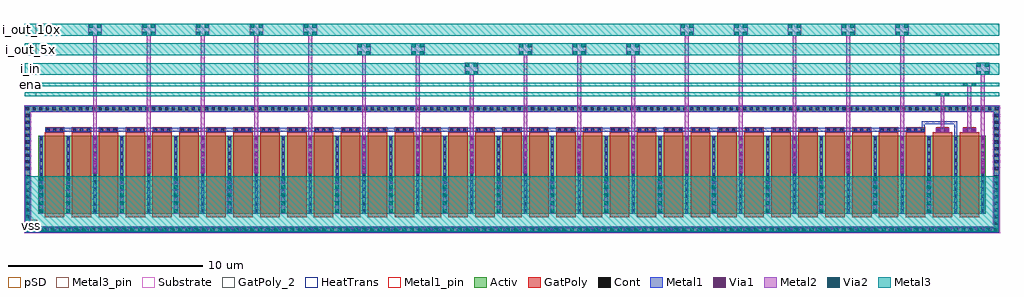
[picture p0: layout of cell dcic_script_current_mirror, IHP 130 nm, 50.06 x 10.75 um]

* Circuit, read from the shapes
.subckt dcic_script_current_mirror ena ena_n i_in i_out_10x i_out_5x vss
XM1 vss n1 vss vss sg13_lv_nmos w=4u l=1u
XM2 i_out_10x n1 vss vss sg13_lv_nmos w=4u l=1u m=20
XM3 i_out_5x n1 vss vss sg13_lv_nmos w=4u l=1u m=10
XM4 i_in n1 vss vss sg13_lv_nmos w=4u l=1u m=2
XM5 n1 ena_n vss vss sg13_lv_nmos w=4u l=1u
XM6 i_in ena n1 vss sg13_lv_nmos w=4u l=1u
.ends

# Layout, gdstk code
import gdstk
lib = gdstk.Library(unit=1e-6, precision=5e-09)
def R(c, l, rs):  # rectangles x0, y0, x1, y1
    for r in rs: c.add(gdstk.rectangle(r[:2], r[2:], *l))
def A(c, l, x, y, w, h, nx, ny, dx, dy):  # array of equal rectangles
    R(c, l, [(x+i*dx, y+j*dy, x+i*dx+w, y+j*dy+h) for i in range(nx) for j in range(ny)])
def P(c, l, *ps):  # polygons
    for p in ps: c.add(gdstk.Polygon(p, *l))
Activ = (1, 0)
GatPoly = (5, 0)
GatPoly_2 = (5, 2)
Cont = (6, 0)
Metal1 = (8, 0)
Metal1_pin = (8, 2)
Metal2 = (10, 0)
pSD = (14, 0)
Via1 = (19, 0)
Via2 = (29, 0)
Metal3 = (30, 0)
Metal3_pin = (30, 2)
Substrate = (40, 0)
HeatTrans = (51, 0)

nmos_1 = lib.new_cell('nmos$1')
A(nmos_1, Activ, 0, 0, 0.3, 0.3, 36, 1, 1.38, 0)
R(nmos_1, Activ, [(0,0,48.6,4)])
A(nmos_1, GatPoly, 0.34, -0.18, 1, 4.36, 35, 1, 1.38, 0)
R(nmos_1, GatPoly_2, [(0.34,-0.18,1.34,4.18)])
A(nmos_1, Cont, 0.07, 0.07, 0.16, 0.16, 36, 11, 1.38, 0.37)
A(nmos_1, Metal1, 0.07, 0, 0.16, 4, 36, 1, 1.38, 0)
R(nmos_1, Metal1_pin, [(0.07,0,0.23,4), (1.45,0,1.61,4)])
A(nmos_1, HeatTrans, 0.34, -0.18, 1, 4.36, 35, 1, 1.38, 0)
nmos_1.add(gdstk.Label('nmos', (0.84,2), layer=63, texttype=0))
nmos_1.add(gdstk.Label('nmos', (0.84,2), layer=51, texttype=0))
nmos_1.add(gdstk.Label('nmos', (2.22,2), layer=51, texttype=0))
nmos_1.add(gdstk.Label('nmos', (3.6,2), layer=51, texttype=0))
nmos_1.add(gdstk.Label('nmos', (4.98,2), layer=51, texttype=0))
nmos_1.add(gdstk.Label('nmos', (6.36,2), layer=51, texttype=0))
nmos_1.add(gdstk.Label('nmos', (7.74,2), layer=51, texttype=0))
nmos_1.add(gdstk.Label('nmos', (9.12,2), layer=51, texttype=0))
nmos_1.add(gdstk.Label('nmos', (10.5,2), layer=51, texttype=0))
nmos_1.add(gdstk.Label('nmos', (11.88,2), layer=51, texttype=0))
nmos_1.add(gdstk.Label('nmos', (13.26,2), layer=51, texttype=0))
nmos_1.add(gdstk.Label('nmos', (14.64,2), layer=51, texttype=0))
nmos_1.add(gdstk.Label('nmos', (16.02,2), layer=51, texttype=0))
nmos_1.add(gdstk.Label('nmos', (17.4,2), layer=51, texttype=0))
nmos_1.add(gdstk.Label('nmos', (18.78,2), layer=51, texttype=0))
nmos_1.add(gdstk.Label('nmos', (20.16,2), layer=51, texttype=0))
nmos_1.add(gdstk.Label('nmos', (21.54,2), layer=51, texttype=0))
nmos_1.add(gdstk.Label('nmos', (22.92,2), layer=51, texttype=0))
nmos_1.add(gdstk.Label('nmos', (24.3,2), layer=51, texttype=0))
nmos_1.add(gdstk.Label('nmos', (25.68,2), layer=51, texttype=0))
nmos_1.add(gdstk.Label('nmos', (27.06,2), layer=51, texttype=0))
nmos_1.add(gdstk.Label('nmos', (28.44,2), layer=51, texttype=0))
nmos_1.add(gdstk.Label('nmos', (29.82,2), layer=51, texttype=0))
nmos_1.add(gdstk.Label('nmos', (31.2,2), layer=51, texttype=0))
nmos_1.add(gdstk.Label('nmos', (32.58,2), layer=51, texttype=0))
nmos_1.add(gdstk.Label('nmos', (33.96,2), layer=51, texttype=0))
nmos_1.add(gdstk.Label('nmos', (35.34,2), layer=51, texttype=0))
nmos_1.add(gdstk.Label('nmos', (36.72,2), layer=51, texttype=0))
nmos_1.add(gdstk.Label('nmos', (38.1,2), layer=51, texttype=0))
nmos_1.add(gdstk.Label('nmos', (39.48,2), layer=51, texttype=0))
nmos_1.add(gdstk.Label('nmos', (40.86,2), layer=51, texttype=0))
nmos_1.add(gdstk.Label('nmos', (42.24,2), layer=51, texttype=0))
nmos_1.add(gdstk.Label('nmos', (43.62,2), layer=51, texttype=0))
nmos_1.add(gdstk.Label('nmos', (45,2), layer=51, texttype=0))
nmos_1.add(gdstk.Label('nmos', (46.38,2), layer=51, texttype=0))
nmos_1.add(gdstk.Label('nmos', (47.76,2), layer=51, texttype=0))

via_stack = lib.new_cell('via_stack')
R(via_stack, GatPoly, [(-0.49,-0.15,0.49,0.15)])
A(via_stack, Cont, -0.42, -0.08, 0.16, 0.16, 3, 1, 0.34, 0)
R(via_stack, Metal1, [(-0.47,-0.08,0.47,0.08)])

via_stack_2 = lib.new_cell('via_stack$2')
R(via_stack_2, GatPoly, [(-0.32,-0.15,0.32,0.15)])
R(via_stack_2, Cont, [(-0.25,-0.08,-0.09,0.08), (0.09,-0.08,0.25,0.08)])
R(via_stack_2, Metal1, [(-0.35,-0.105,0.35,0.105)])
R(via_stack_2, Metal2, [(-0.35,-0.1,0.35,0.1)])
R(via_stack_2, Via1, [(-0.3,-0.095,-0.11,0.095), (0.11,-0.095,0.3,0.095)])

guard_ring = lib.new_cell('guard_ring')
R(guard_ring, Activ, [(-25,-2.95,-24.7,2.95), (24.7,-2.95,25,2.95), (-25,2.95,25,3.25)])
P(guard_ring, Activ, [(-25,-3.25),(-25,2.95),(-24.7,2.95),(-24.7,-2.95),(24.7,-2.95),(24.7,2.95),(-25,2.95),(-25,3.25),(25,3.25),(25,-3.25)])
A(guard_ring, Cont, -24.93, -3.18, 0.16, 0.16, 73, 2, 0.34, 6.2)
A(guard_ring, Cont, -0.05, -3.18, 0.16, 0.16, 74, 2, 0.34, 6.2)
A(guard_ring, Cont, -24.93, -2.84, 0.16, 0.16, 1, 8, 0, 0.34)
A(guard_ring, Cont, 24.77, -2.84, 0.16, 0.16, 1, 8, 0, 0.34)
A(guard_ring, Cont, -24.93, -0.04, 0.16, 0.16, 1, 9, 0, 0.34)
A(guard_ring, Cont, 24.77, -0.04, 0.16, 0.16, 1, 9, 0, 0.34)
R(guard_ring, Metal1, [(-25,-3.25,25,-2.95), (-25,-2.95,-24.7,2.95), (24.7,-2.95,25,2.95), (-25,2.95,25,3.25)])
R(guard_ring, pSD, [(-25.03,-2.92,-24.67,2.92), (24.67,-2.92,25.03,2.92), (-25.03,2.92,25.03,3.28)])
P(guard_ring, pSD, [(-25.03,-3.28),(-25.03,2.92),(-24.67,2.92),(-24.67,-2.92),(24.67,-2.92),(24.67,2.92),(-25.03,2.92),(-25.03,3.28),(25.03,3.28),(25.03,-3.28)])
R(guard_ring, Substrate, [(-25.03,-2.92,-24.67,2.92), (24.67,-2.92,25.03,2.92), (-25.03,2.92,25.03,3.28)])
P(guard_ring, Substrate, [(-25.03,-3.28),(-25.03,2.92),(-24.67,2.92),(-24.67,-2.92),(24.67,-2.92),(24.67,2.92),(-25.03,2.92),(-25.03,3.28),(25.03,3.28),(25.03,-3.28)])
guard_ring.add(gdstk.Label('sub!', (0,-3.1), layer=63, texttype=0))

via_stack_4 = lib.new_cell('via_stack$4')
R(via_stack_4, Metal2, [(-0.35,-0.1,0.35,0.1)])
R(via_stack_4, Via2, [(-0.3,-0.095,-0.11,0.095), (0.11,-0.095,0.3,0.095)])
R(via_stack_4, Metal3, [(-0.35,-0.1,0.35,0.1)])

via_stack_6 = lib.new_cell('via_stack$6')
R(via_stack_6, Metal1, [(-0.105,-0.965,0.105,0.965)])
R(via_stack_6, Metal2, [(-0.1,-0.965,0.1,0.965)])
A(via_stack_6, Via1, -0.095, -0.915, 0.19, 0.19, 1, 5, 0, 0.41)
A(via_stack_6, Via2, -0.095, -0.915, 0.19, 0.19, 1, 5, 0, 0.41)
R(via_stack_6, Metal3, [(-0.1,-0.965,0.1,0.965)])

via_stack_5 = lib.new_cell('via_stack$5')
R(via_stack_5, Metal1, [(-0.105,-0.965,0.105,0.965)])
R(via_stack_5, Metal2, [(-0.1,-0.965,0.1,0.965)])
A(via_stack_5, Via1, -0.095, -0.915, 0.19, 0.19, 1, 5, 0, 0.41)

via_stack_9 = lib.new_cell('via_stack$9')
R(via_stack_9, Metal1, [(-24.95,-0.105,24.95,0.105)])
R(via_stack_9, Metal2, [(-24.95,-0.1,24.95,0.1)])
A(via_stack_9, Via1, -24.9, -0.095, 0.19, 0.19, 122, 1, 0.41, 0)
A(via_stack_9, Via2, -24.9, -0.095, 0.19, 0.19, 122, 1, 0.41, 0)
R(via_stack_9, Metal3, [(-24.95,-0.1,24.95,0.1)])

via_stack_8 = lib.new_cell('via_stack$8')
R(via_stack_8, Metal2, [(-0.35,-0.305,0.35,0.305)])
R(via_stack_8, Via2, [(-0.3,-0.3,-0.11,-0.11), (0.11,-0.3,0.3,-0.11), (-0.3,0.11,-0.11,0.3), (0.11,0.11,0.3,0.3)])
R(via_stack_8, Metal3, [(-0.35,-0.305,0.35,0.305)])

dcic_script_current_mirr = lib.new_cell('dcic_script_current_mirror')
R(dcic_script_current_mirr, Metal1, [(-6.23,3.585,38.87,3.785)])
R(dcic_script_current_mirr, Metal3, [(-7.25,-1.535,42.65,1.315)])
A(dcic_script_current_mirr, Metal3_pin, -7.3, 6.515, 0.6, 0.6, 1, 3, 0, 1.005)
R(dcic_script_current_mirr, Metal3_pin, [(-7.25,-1.535,-6.65,-0.935), (-7.3,5.415,-6.7,5.615), (-7.3,5.915,-6.7,6.115)])
dcic_script_current_mirr.add(gdstk.FlexPath([(40.47,3.385),(40.47,4.05),(38.79,4.05),(38.79,3.745)], 0.16, ends="flush", simple_path=True, layer=8, datatype=0))  # Metal1
dcic_script_current_mirr.add(gdstk.FlexPath([(37.71,3.385),(37.71,9.13)], 0.2, ends="flush", simple_path=True, layer=10, datatype=0))  # Metal2
dcic_script_current_mirr.add(gdstk.FlexPath([(34.95,3.385),(34.95,9.13)], 0.2, ends="flush", simple_path=True, layer=10, datatype=0))  # Metal2
dcic_script_current_mirr.add(gdstk.FlexPath([(32.19,3.385),(32.19,9.13)], 0.2, ends="flush", simple_path=True, layer=10, datatype=0))  # Metal2
dcic_script_current_mirr.add(gdstk.FlexPath([(29.43,3.385),(29.43,9.13)], 0.2, ends="flush", simple_path=True, layer=10, datatype=0))  # Metal2
dcic_script_current_mirr.add(gdstk.FlexPath([(26.67,3.385),(26.67,9.13)], 0.2, ends="flush", simple_path=True, layer=10, datatype=0))  # Metal2
dcic_script_current_mirr.add(gdstk.FlexPath([(7.35,3.385),(7.35,9.13)], 0.2, ends="flush", simple_path=True, layer=10, datatype=0))  # Metal2
dcic_script_current_mirr.add(gdstk.FlexPath([(4.59,3.385),(4.59,9.13)], 0.2, ends="flush", simple_path=True, layer=10, datatype=0))  # Metal2
dcic_script_current_mirr.add(gdstk.FlexPath([(1.83,3.385),(1.83,9.13)], 0.2, ends="flush", simple_path=True, layer=10, datatype=0))  # Metal2
dcic_script_current_mirr.add(gdstk.FlexPath([(-0.93,3.385),(-0.93,9.13)], 0.2, ends="flush", simple_path=True, layer=10, datatype=0))  # Metal2
dcic_script_current_mirr.add(gdstk.FlexPath([(-3.69,3.385),(-3.69,9.13)], 0.2, ends="flush", simple_path=True, layer=10, datatype=0))  # Metal2
dcic_script_current_mirr.add(gdstk.FlexPath([(10.11,3.385),(10.11,8.125)], 0.2, ends="flush", simple_path=True, layer=10, datatype=0))  # Metal2
dcic_script_current_mirr.add(gdstk.FlexPath([(12.87,3.385),(12.87,8.125)], 0.2, ends="flush", simple_path=True, layer=10, datatype=0))  # Metal2
dcic_script_current_mirr.add(gdstk.FlexPath([(18.39,3.385),(18.39,8.125)], 0.2, ends="flush", simple_path=True, layer=10, datatype=0))  # Metal2
dcic_script_current_mirr.add(gdstk.FlexPath([(21.15,3.385),(21.15,8.125)], 0.2, ends="flush", simple_path=True, layer=10, datatype=0))  # Metal2
dcic_script_current_mirr.add(gdstk.FlexPath([(23.91,3.385),(23.91,8.125)], 0.2, ends="flush", simple_path=True, layer=10, datatype=0))  # Metal2
dcic_script_current_mirr.add(gdstk.FlexPath([(15.63,3.385),(15.63,7.12)], 0.2, ends="flush", simple_path=True, layer=10, datatype=0))  # Metal2
dcic_script_current_mirr.add(gdstk.FlexPath([(41.16,3.765),(41.16,6.115)], 0.2, ends="flush", simple_path=True, layer=10, datatype=0))  # Metal2
dcic_script_current_mirr.add(gdstk.FlexPath([(39.78,3.765),(39.78,5.615)], 0.2, ends="flush", simple_path=True, layer=10, datatype=0))  # Metal2
dcic_script_current_mirr.add(gdstk.FlexPath([(41.85,3.385),(41.85,7.12)], 0.2, ends="flush", simple_path=True, layer=10, datatype=0))  # Metal2
dcic_script_current_mirr.add(gdstk.FlexPath([(42.7,8.825),(-7.3,8.825)], 0.6, ends="flush", simple_path=True, layer=30, datatype=0))  # Metal3
dcic_script_current_mirr.add(gdstk.FlexPath([(42.7,7.82),(-7.3,7.82)], 0.6, ends="flush", simple_path=True, layer=30, datatype=0))  # Metal3
dcic_script_current_mirr.add(gdstk.FlexPath([(42.7,6.815),(-7.3,6.815)], 0.6, ends="flush", simple_path=True, layer=30, datatype=0))  # Metal3
dcic_script_current_mirr.add(gdstk.FlexPath([(42.7,6.015),(-7.3,6.015)], 0.2, ends="flush", simple_path=True, layer=30, datatype=0))  # Metal3
dcic_script_current_mirr.add(gdstk.FlexPath([(42.7,5.515),(-7.3,5.515)], 0.2, ends="flush", simple_path=True, layer=30, datatype=0))  # Metal3
dcic_script_current_mirr.add(gdstk.Reference(nmos_1, (-6.6,-0.615)))
dcic_script_current_mirr.add(gdstk.Reference(via_stack, (-5.76,3.665)))
dcic_script_current_mirr.add(gdstk.Reference(via_stack, (-4.38,3.665)))
dcic_script_current_mirr.add(gdstk.Reference(via_stack, (-3,3.665)))
dcic_script_current_mirr.add(gdstk.Reference(via_stack, (-1.62,3.665)))
dcic_script_current_mirr.add(gdstk.Reference(via_stack, (-0.24,3.665)))
dcic_script_current_mirr.add(gdstk.Reference(via_stack, (1.14,3.665)))
dcic_script_current_mirr.add(gdstk.Reference(via_stack, (2.52,3.665)))
dcic_script_current_mirr.add(gdstk.Reference(via_stack, (3.9,3.665)))
dcic_script_current_mirr.add(gdstk.Reference(via_stack, (5.28,3.665)))
dcic_script_current_mirr.add(gdstk.Reference(via_stack, (6.66,3.665)))
dcic_script_current_mirr.add(gdstk.Reference(via_stack, (8.04,3.665)))
dcic_script_current_mirr.add(gdstk.Reference(via_stack, (9.42,3.665)))
dcic_script_current_mirr.add(gdstk.Reference(via_stack, (10.8,3.665)))
dcic_script_current_mirr.add(gdstk.Reference(via_stack, (12.18,3.665)))
dcic_script_current_mirr.add(gdstk.Reference(via_stack, (13.56,3.665)))
dcic_script_current_mirr.add(gdstk.Reference(via_stack, (14.94,3.665)))
dcic_script_current_mirr.add(gdstk.Reference(via_stack, (16.32,3.665)))
dcic_script_current_mirr.add(gdstk.Reference(via_stack, (17.7,3.665)))
dcic_script_current_mirr.add(gdstk.Reference(via_stack, (19.08,3.665)))
dcic_script_current_mirr.add(gdstk.Reference(via_stack, (20.46,3.665)))
dcic_script_current_mirr.add(gdstk.Reference(via_stack, (21.84,3.665)))
dcic_script_current_mirr.add(gdstk.Reference(via_stack, (23.22,3.665)))
dcic_script_current_mirr.add(gdstk.Reference(via_stack, (24.6,3.665)))
dcic_script_current_mirr.add(gdstk.Reference(via_stack, (25.98,3.665)))
dcic_script_current_mirr.add(gdstk.Reference(via_stack, (27.36,3.665)))
dcic_script_current_mirr.add(gdstk.Reference(via_stack, (28.74,3.665)))
dcic_script_current_mirr.add(gdstk.Reference(via_stack, (30.12,3.665)))
dcic_script_current_mirr.add(gdstk.Reference(via_stack, (31.5,3.665)))
dcic_script_current_mirr.add(gdstk.Reference(via_stack, (32.88,3.665)))
dcic_script_current_mirr.add(gdstk.Reference(via_stack, (34.26,3.665)))
dcic_script_current_mirr.add(gdstk.Reference(via_stack, (35.64,3.665)))
dcic_script_current_mirr.add(gdstk.Reference(via_stack, (37.02,3.665)))
dcic_script_current_mirr.add(gdstk.Reference(via_stack, (38.4,3.665)))
dcic_script_current_mirr.add(gdstk.Reference(via_stack_2, (39.78,3.665)))
dcic_script_current_mirr.add(gdstk.Reference(via_stack_2, (41.16,3.665)))
dcic_script_current_mirr.add(gdstk.Reference(guard_ring, (17.7,1.665)))
dcic_script_current_mirr.add(gdstk.Reference(via_stack_4, (39.78,5.515)))
dcic_script_current_mirr.add(gdstk.Reference(via_stack_4, (41.16,6.015)))
dcic_script_current_mirr.add(gdstk.Reference(via_stack_6, (39.09,0.35)))
dcic_script_current_mirr.add(gdstk.Reference(via_stack_5, (41.85,2.42)))
dcic_script_current_mirr.add(gdstk.Reference(via_stack_6, (36.33,0.35)))
dcic_script_current_mirr.add(gdstk.Reference(via_stack_6, (33.57,0.35)))
dcic_script_current_mirr.add(gdstk.Reference(via_stack_6, (30.81,0.35)))
dcic_script_current_mirr.add(gdstk.Reference(via_stack_6, (28.05,0.35)))
dcic_script_current_mirr.add(gdstk.Reference(via_stack_6, (25.29,0.35)))
dcic_script_current_mirr.add(gdstk.Reference(via_stack_6, (22.53,0.35)))
dcic_script_current_mirr.add(gdstk.Reference(via_stack_6, (19.77,0.35)))
dcic_script_current_mirr.add(gdstk.Reference(via_stack_6, (17.01,0.35)))
dcic_script_current_mirr.add(gdstk.Reference(via_stack_6, (14.25,0.35)))
dcic_script_current_mirr.add(gdstk.Reference(via_stack_6, (11.49,0.35)))
dcic_script_current_mirr.add(gdstk.Reference(via_stack_6, (8.73,0.35)))
dcic_script_current_mirr.add(gdstk.Reference(via_stack_6, (5.97,0.35)))
dcic_script_current_mirr.add(gdstk.Reference(via_stack_6, (3.21,0.35)))
dcic_script_current_mirr.add(gdstk.Reference(via_stack_6, (0.45,0.35)))
dcic_script_current_mirr.add(gdstk.Reference(via_stack_6, (-2.31,0.35)))
dcic_script_current_mirr.add(gdstk.Reference(via_stack_6, (-5.07,0.35)))
dcic_script_current_mirr.add(gdstk.Reference(via_stack_6, (-6.45,0.35)))
dcic_script_current_mirr.add(gdstk.Reference(via_stack_9, (17.7,-1.435)))
dcic_script_current_mirr.add(gdstk.Reference(via_stack_5, (34.95,2.42)))
dcic_script_current_mirr.add(gdstk.Reference(via_stack_5, (32.19,2.42)))
dcic_script_current_mirr.add(gdstk.Reference(via_stack_5, (29.43,2.42)))
dcic_script_current_mirr.add(gdstk.Reference(via_stack_5, (26.67,2.42)))
dcic_script_current_mirr.add(gdstk.Reference(via_stack_5, (23.91,2.42)))
dcic_script_current_mirr.add(gdstk.Reference(via_stack_5, (21.15,2.42)))
dcic_script_current_mirr.add(gdstk.Reference(via_stack_5, (18.39,2.42)))
dcic_script_current_mirr.add(gdstk.Reference(via_stack_5, (15.63,2.43)))
dcic_script_current_mirr.add(gdstk.Reference(via_stack_5, (12.87,2.42)))
dcic_script_current_mirr.add(gdstk.Reference(via_stack_5, (10.11,2.42)))
dcic_script_current_mirr.add(gdstk.Reference(via_stack_5, (7.35,2.42)))
dcic_script_current_mirr.add(gdstk.Reference(via_stack_5, (4.59,2.42)))
dcic_script_current_mirr.add(gdstk.Reference(via_stack_5, (1.83,2.42)))
dcic_script_current_mirr.add(gdstk.Reference(via_stack_5, (-0.93,2.42)))
dcic_script_current_mirr.add(gdstk.Reference(via_stack_5, (-3.69,2.42)))
dcic_script_current_mirr.add(gdstk.Reference(via_stack_8, (32.19,8.825)))
dcic_script_current_mirr.add(gdstk.Reference(via_stack_5, (37.71,2.42)))
dcic_script_current_mirr.add(gdstk.Reference(via_stack_8, (37.71,8.825)))
dcic_script_current_mirr.add(gdstk.Reference(via_stack_8, (34.95,8.825)))
dcic_script_current_mirr.add(gdstk.Reference(via_stack_8, (26.67,8.825)))
dcic_script_current_mirr.add(gdstk.Reference(via_stack_8, (29.43,8.825)))
dcic_script_current_mirr.add(gdstk.Reference(via_stack_8, (1.83,8.825)))
dcic_script_current_mirr.add(gdstk.Reference(via_stack_8, (7.35,8.825)))
dcic_script_current_mirr.add(gdstk.Reference(via_stack_8, (4.59,8.825)))
dcic_script_current_mirr.add(gdstk.Reference(via_stack_8, (-3.69,8.825)))
dcic_script_current_mirr.add(gdstk.Reference(via_stack_8, (-0.93,8.825)))
dcic_script_current_mirr.add(gdstk.Reference(via_stack_8, (23.91,7.82)))
dcic_script_current_mirr.add(gdstk.Reference(via_stack_8, (41.85,6.815)))
dcic_script_current_mirr.add(gdstk.Reference(via_stack_8, (18.39,7.82)))
dcic_script_current_mirr.add(gdstk.Reference(via_stack_8, (21.15,7.82)))
dcic_script_current_mirr.add(gdstk.Reference(via_stack_8, (10.11,7.82)))
dcic_script_current_mirr.add(gdstk.Reference(via_stack_8, (12.87,7.82)))
dcic_script_current_mirr.add(gdstk.Reference(via_stack_8, (15.63,6.815)))
dcic_script_current_mirr.add(gdstk.Label('i_out_10x', (-7,8.825), layer=30, texttype=25))
dcic_script_current_mirr.add(gdstk.Label('i_out_5x', (-7,7.82), layer=30, texttype=25))
dcic_script_current_mirr.add(gdstk.Label('i_in', (-7,6.815), layer=30, texttype=25))
dcic_script_current_mirr.add(gdstk.Label('ena', (-7,6.015), layer=30, texttype=25))
dcic_script_current_mirr.add(gdstk.Label('ena_n', (-7,5.515), layer=30, texttype=25))
dcic_script_current_mirr.add(gdstk.Label('vss', (-6.95,-1.235), layer=30, texttype=25))

lib.write_gds('dcic_script_current_mirror.gds')
